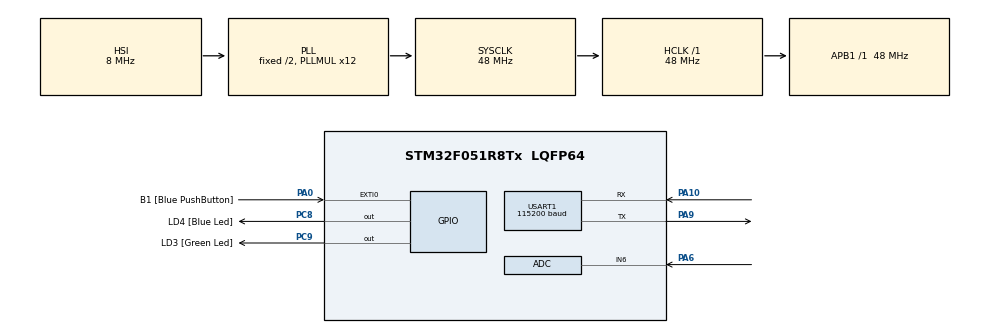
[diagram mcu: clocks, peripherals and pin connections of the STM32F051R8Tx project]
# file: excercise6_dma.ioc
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ADC.DMAContinuousRequests=ENABLE
Dma.ADC.0.Direction=DMA_PERIPH_TO_MEMORY
Dma.ADC.0.Instance=DMA1_Channel1
Dma.ADC.0.MemDataAlignment=DMA_MDATAALIGN_HALFWORD
Dma.ADC.0.MemInc=DMA_MINC_ENABLE
Dma.ADC.0.Mode=DMA_NORMAL
Dma.ADC.0.PeriphDataAlignment=DMA_PDATAALIGN_HALFWORD
Dma.ADC.0.PeriphInc=DMA_PINC_DISABLE
Dma.ADC.0.Priority=DMA_PRIORITY_LOW
Dma.Request0=ADC
Mcu.Family=STM32F0
Mcu.Name=STM32F051R8Tx
Mcu.Package=LQFP64
NVIC.DMA1_Channel1_IRQn=true\:0\:0\:false\:false\:true\:false\:true\:true
PA0.GPIO_Label=B1 [Blue PushButton]
PA0.GPIO_ModeDefaultEXTI=GPIO_MODE_EVT_RISING
PA0.Signal=GPXTI0
PA10.Mode=Asynchronous
PA10.Signal=USART1_RX
PA13.GPIO_Label=SWDIO
PA13.Mode=Serial_Wire
PA13.Signal=SYS_SWDIO
PA14.GPIO_Label=SWCLK
PA14.Mode=Serial_Wire
PA14.Signal=SYS_SWCLK
PA6.Mode=IN6
PA6.Signal=ADC_IN6
PA9.Mode=Asynchronous
PA9.Signal=USART1_TX
PC8.GPIO_Label=LD4 [Blue Led]
PC8.Signal=GPIO_Output
PC9.GPIO_Label=LD3 [Green Led]
PC9.Signal=GPIO_Output
ProjectManager.HeapSize=0x200
ProjectManager.StackSize=0x400
ProjectManager.TargetToolchain=STM32CubeIDE
RCC.AHBFreq_Value=48000000
RCC.APB1Freq_Value=48000000
RCC.APB1TimFreq_Value=48000000
RCC.HCLKFreq_Value=48000000
RCC.PLLMUL=RCC_PLL_MUL12
RCC.SYSCLKFreq_VALUE=48000000
RCC.SYSCLKSource=RCC_SYSCLKSOURCE_PLLCLK
USART1.BaudRate=115200
USART1.VirtualMode-Asynchronous=VM_ASYNC
board=STM32F0DISCOVERY

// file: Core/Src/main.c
/* USER CODE BEGIN Header */
/**
  ******************************************************************************
  * @file           : main.c
  * @brief          : Main program body
  ******************************************************************************
  * @attention
  *
  * <h2><center>&copy; Copyright (c) 2019 STMicroelectronics.
  * All rights reserved.</center></h2>
  *
  * This software component is licensed by ST under BSD 3-Clause license,
  * the "License"; You may not use this file except in compliance with the
  * License. You may obtain a copy of the License at:
  *                        opensource.org/licenses/BSD-3-Clause
  *
  ******************************************************************************
  */
/* USER CODE END Header */
#include "main.h"

/* USER CODE BEGIN Includes */
#include <string.h>
#include <stdio.h>
/* USER CODE END Includes */

/* USER CODE BEGIN PD */
#define ADC_BUF_LEN 2048
/* USER CODE END PD */

ADC_HandleTypeDef hadc;
DMA_HandleTypeDef hdma_adc;

UART_HandleTypeDef huart1;

/* USER CODE BEGIN PV */

	/*variable to hold the value of the internal adc*/
	uint32_t adc_value;

	/* The buffer to hold the message to be transmitted by the USART interface */
	uint8_t uart_buf[50];

	/*The measured voltage that is converted from the adc value */
	float voltage = 0;

	/*The actual amount of the uart_buf used to transmit the message */
	int uart_buf_len = 0;

/* USER CODE END PV */

void SystemClock_Config(void);
static void MX_GPIO_Init(void);
static void MX_DMA_Init(void);
static void MX_USART1_UART_Init(void);
static void MX_ADC_Init(void);

int main(void)
{

  /* MCU Configuration--------------------------------------------------------*/

  /* Reset of all peripherals, Initializes the Flash interface and the Systick. */
  HAL_Init();

  /* Configure the system clock */
  SystemClock_Config();

  /* Initialize all configured peripherals */
  MX_GPIO_Init();
  MX_DMA_Init();
  MX_USART1_UART_Init();
  MX_ADC_Init();
  /* USER CODE BEGIN 2 */

  /*
   Start the ADC DMA transfer into the adc_value that contains one adc value

   Delay to allow for the process to complete.
   */
  HAL_ADC_Start_DMA(&hadc,&adc_value,1);
  HAL_Delay(1);
  /* USER CODE END 2 */

  /* Infinite loop */
  while (1)
  {

    /* USER CODE BEGIN 3 */

	  /*
	   Convert the internal ADC value into voltage

	   Store the voltage into a formatted string
	  */
	  voltage = (adc_value * 3) / 4095.0;

	  uart_buf_len = sprintf(uart_buf, "%f V\r\n", voltage);

	  /*
	  Transmit the stored string to the computer through the UART interface.

	  Start the next ADC DMA process to be converted in next iteration

	  Delay for one second to allow for DMA to complete and to reduce output stream.
	  */
	  // Transmit the voltage value over UART
	  HAL_UART_Transmit(&huart1, (uint8_t*)uart_buf, uart_buf_len, HAL_MAX_DELAY);
	  HAL_ADC_Start_DMA(&hadc, &adc_value, 1);
	  HAL_Delay(1000);
  }
  /* USER CODE END 3 */
}

void SystemClock_Config(void)
{
  RCC_OscInitTypeDef RCC_OscInitStruct = {0};
  RCC_ClkInitTypeDef RCC_ClkInitStruct = {0};
  RCC_PeriphCLKInitTypeDef PeriphClkInit = {0};

  /** Initializes the RCC Oscillators according to the specified parameters
  * in the RCC_OscInitTypeDef structure.
  */
  RCC_OscInitStruct.OscillatorType = RCC_OSCILLATORTYPE_HSI|RCC_OSCILLATORTYPE_HSI14;
  RCC_OscInitStruct.HSIState = RCC_HSI_ON;
  RCC_OscInitStruct.HSI14State = RCC_HSI14_ON;
  RCC_OscInitStruct.HSICalibrationValue = RCC_HSICALIBRATION_DEFAULT;
  RCC_OscInitStruct.HSI14CalibrationValue = 16;
  RCC_OscInitStruct.PLL.PLLState = RCC_PLL_ON;
  RCC_OscInitStruct.PLL.PLLSource = RCC_PLLSOURCE_HSI;
  RCC_OscInitStruct.PLL.PLLMUL = RCC_PLL_MUL12;
  RCC_OscInitStruct.PLL.PREDIV = RCC_PREDIV_DIV1;
  if (HAL_RCC_OscConfig(&RCC_OscInitStruct) != HAL_OK)
  {
    Error_Handler();
  }

  /** Initializes the CPU, AHB and APB buses clocks
  */
  RCC_ClkInitStruct.ClockType = RCC_CLOCKTYPE_HCLK|RCC_CLOCKTYPE_SYSCLK
                              |RCC_CLOCKTYPE_PCLK1;
  RCC_ClkInitStruct.SYSCLKSource = RCC_SYSCLKSOURCE_PLLCLK;
  RCC_ClkInitStruct.AHBCLKDivider = RCC_SYSCLK_DIV1;
  RCC_ClkInitStruct.APB1CLKDivider = RCC_HCLK_DIV1;

  if (HAL_RCC_ClockConfig(&RCC_ClkInitStruct, FLASH_LATENCY_1) != HAL_OK)
  {
    Error_Handler();
  }
  PeriphClkInit.PeriphClockSelection = RCC_PERIPHCLK_USART1;
  PeriphClkInit.Usart1ClockSelection = RCC_USART1CLKSOURCE_PCLK1;
  if (HAL_RCCEx_PeriphCLKConfig(&PeriphClkInit) != HAL_OK)
  {
    Error_Handler();
  }
}

static void MX_ADC_Init(void)
{

  ADC_ChannelConfTypeDef sConfig = {0};

  /** Configure the global features of the ADC (Clock, Resolution, Data Alignment and number of conversion)
  */
  hadc.Instance = ADC1;
  hadc.Init.ClockPrescaler = ADC_CLOCK_ASYNC_DIV1;
  hadc.Init.Resolution = ADC_RESOLUTION_12B;
  hadc.Init.DataAlign = ADC_DATAALIGN_RIGHT;
  hadc.Init.ScanConvMode = ADC_SCAN_DIRECTION_FORWARD;
  hadc.Init.EOCSelection = ADC_EOC_SINGLE_CONV;
  hadc.Init.LowPowerAutoWait = DISABLE;
  hadc.Init.LowPowerAutoPowerOff = DISABLE;
  hadc.Init.ContinuousConvMode = DISABLE;
  hadc.Init.DiscontinuousConvMode = DISABLE;
  hadc.Init.ExternalTrigConv = ADC_SOFTWARE_START;
  hadc.Init.ExternalTrigConvEdge = ADC_EXTERNALTRIGCONVEDGE_NONE;
  hadc.Init.DMAContinuousRequests = ENABLE;
  hadc.Init.Overrun = ADC_OVR_DATA_PRESERVED;
  if (HAL_ADC_Init(&hadc) != HAL_OK)
  {
    Error_Handler();
  }

  /** Configure for the selected ADC regular channel to be converted.
  */
  sConfig.Channel = ADC_CHANNEL_6;
  sConfig.Rank = ADC_RANK_CHANNEL_NUMBER;
  sConfig.SamplingTime = ADC_SAMPLETIME_1CYCLE_5;
  if (HAL_ADC_ConfigChannel(&hadc, &sConfig) != HAL_OK)
  {
    Error_Handler();
  }

}

static void MX_USART1_UART_Init(void)
{

  huart1.Instance = USART1;
  huart1.Init.BaudRate = 115200;
  huart1.Init.WordLength = UART_WORDLENGTH_8B;
  huart1.Init.StopBits = UART_STOPBITS_1;
  huart1.Init.Parity = UART_PARITY_NONE;
  huart1.Init.Mode = UART_MODE_TX_RX;
  huart1.Init.HwFlowCtl = UART_HWCONTROL_NONE;
  huart1.Init.OverSampling = UART_OVERSAMPLING_16;
  huart1.Init.OneBitSampling = UART_ONE_BIT_SAMPLE_DISABLE;
  huart1.AdvancedInit.AdvFeatureInit = UART_ADVFEATURE_NO_INIT;
  if (HAL_UART_Init(&huart1) != HAL_OK)
  {
    Error_Handler();
  }

}

static void MX_DMA_Init(void)
{

  /* DMA controller clock enable */
  __HAL_RCC_DMA1_CLK_ENABLE();

  /* DMA interrupt init */
  /* DMA1_Channel1_IRQn interrupt configuration */
  HAL_NVIC_SetPriority(DMA1_Channel1_IRQn, 0, 0);
  HAL_NVIC_EnableIRQ(DMA1_Channel1_IRQn);

}

static void MX_GPIO_Init(void)
{
  GPIO_InitTypeDef GPIO_InitStruct = {0};

  /* GPIO Ports Clock Enable */
  __HAL_RCC_GPIOA_CLK_ENABLE();
  __HAL_RCC_GPIOC_CLK_ENABLE();

  /*Configure GPIO pin Output Level */
  HAL_GPIO_WritePin(GPIOC, LD4_Pin|LD3_Pin, GPIO_PIN_RESET);

  /*Configure GPIO pin : B1_Pin */
  GPIO_InitStruct.Pin = B1_Pin;
  GPIO_InitStruct.Mode = GPIO_MODE_EVT_RISING;
  GPIO_InitStruct.Pull = GPIO_NOPULL;
  HAL_GPIO_Init(B1_GPIO_Port, &GPIO_InitStruct);

  /*Configure GPIO pins : LD4_Pin LD3_Pin */
  GPIO_InitStruct.Pin = LD4_Pin|LD3_Pin;
  GPIO_InitStruct.Mode = GPIO_MODE_OUTPUT_PP;
  GPIO_InitStruct.Pull = GPIO_NOPULL;
  GPIO_InitStruct.Speed = GPIO_SPEED_FREQ_LOW;
  HAL_GPIO_Init(GPIOC, &GPIO_InitStruct);

}

/* USER CODE BEGIN 4 */

// Called when first half of buffer is filled
void HAL_ADC_ConvHalfCpltCallback(ADC_HandleTypeDef* hadc) {
  HAL_GPIO_WritePin(LD3_GPIO_Port, LD3_Pin, GPIO_PIN_SET);
}

// Called when buffer is completely filled
void HAL_ADC_ConvCpltCallback(ADC_HandleTypeDef* hadc) {
  HAL_GPIO_WritePin(LD3_GPIO_Port, LD3_Pin, GPIO_PIN_RESET);
}

/* USER CODE END 4 */

void Error_Handler(void)
{
  __disable_irq();
  while (1)
  {
  }
}
